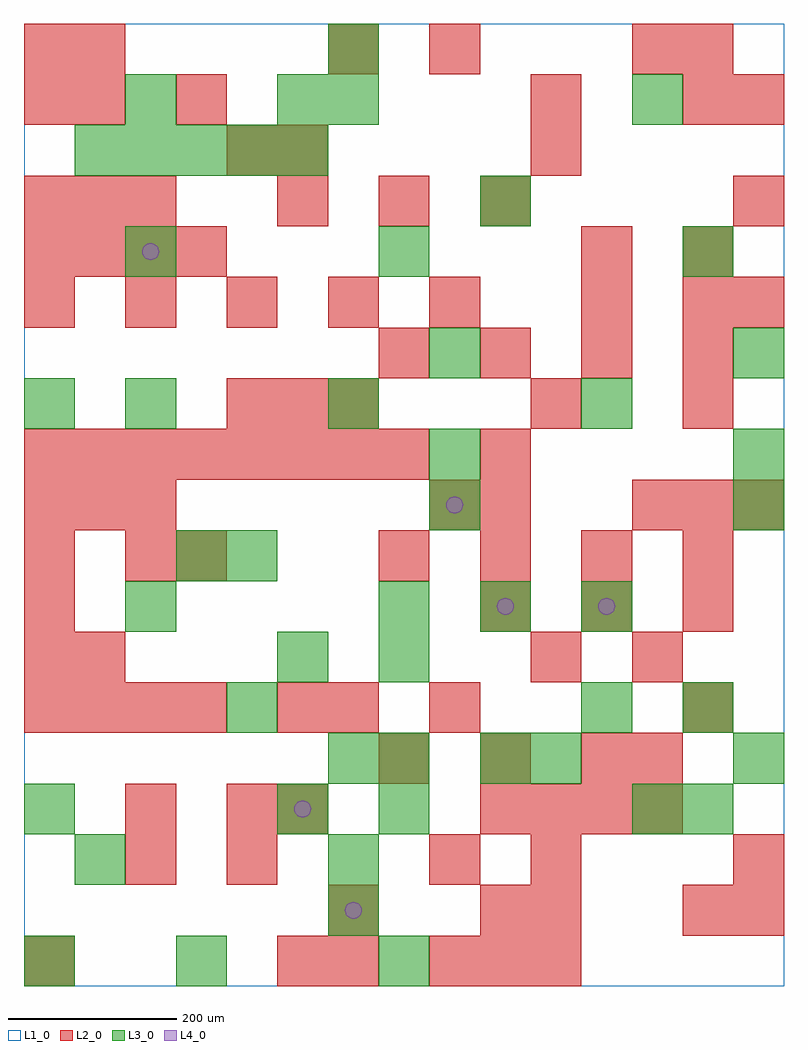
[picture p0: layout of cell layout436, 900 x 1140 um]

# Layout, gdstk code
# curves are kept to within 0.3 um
import gdstk
lib = gdstk.Library(unit=1e-6, precision=1e-09)
def R(c, l, rs):  # rectangles x0, y0, x1, y1
    for r in rs: c.add(gdstk.rectangle(r[:2], r[2:], *l))
def A(c, l, x, y, w, h, nx, ny, dx, dy):  # array of equal rectangles
    R(c, l, [(x+i*dx, y+j*dy, x+i*dx+w, y+j*dy+h) for i in range(nx) for j in range(ny)])
def P(c, l, *ps):  # polygons
    for p in ps: c.add(gdstk.Polygon(p, *l))
L1_0 = (1, 0)
L2_0 = (2, 0)
L3_0 = (3, 0)
L4_0 = (4, 0)

layout436 = lib.new_cell('layout436')
R(layout436, L1_0, [(0,0,900,1140)])
A(layout436, L2_0, 480, 0, 60, 60, 3, 1, 60, 0)
A(layout436, L2_0, 540, 180, 60, 60, 4, 1, 60, 0)
A(layout436, L2_0, 420, 240, 60, 60, 3, 1, 120, 0)
A(layout436, L2_0, 0, 300, 60, 60, 4, 2, 60, 540)
A(layout436, L2_0, 0, 360, 60, 60, 1, 3, 0, 60)
A(layout436, L2_0, 600, 360, 60, 60, 1, 3, 0, 300)
A(layout436, L2_0, 540, 420, 60, 60, 3, 1, 120, 0)
A(layout436, L2_0, 420, 480, 60, 60, 4, 2, 120, 240)
A(layout436, L2_0, 0, 540, 60, 60, 3, 2, 60, 360)
A(layout436, L2_0, 720, 540, 60, 60, 3, 1, 60, 0)
A(layout436, L2_0, 0, 600, 60, 60, 8, 1, 60, 0)
A(layout436, L2_0, 240, 660, 60, 60, 3, 1, 60, 0)
A(layout436, L2_0, 0, 780, 60, 60, 5, 1, 120, 0)
A(layout436, L2_0, 840, 780, 60, 60, 1, 3, 0, 120)
A(layout436, L2_0, 300, 900, 60, 60, 3, 1, 120, 0)
R(layout436, L2_0, [(0,0,60,60), (300,0,360,60), (360,0,420,60), (360,60,420,120), (540,60,600,120), (600,60,660,120), (780,60,840,120), (840,60,900,120), (120,120,180,180), (240,120,300,180), (480,120,540,180), (600,120,660,180), (840,120,900,180), (120,180,180,240), (240,180,300,240), (300,180,360,240), (720,240,780,300), (300,300,360,360), (360,300,420,360), (480,300,540,360), (780,300,840,360), (60,360,120,420), (720,360,780,420), (120,480,180,540), (180,480,240,540), (480,540,540,600), (540,540,600,600), (540,600,600,660), (780,660,840,720), (660,780,720,840), (780,780,840,840), (660,840,720,900), (780,840,840,900), (240,960,300,1020), (300,960,360,1020), (0,1020,60,1080), (60,1020,120,1080), (180,1020,240,1080), (600,1020,660,1080), (780,1020,840,1080), (0,1080,60,1140), (60,1080,120,1140), (360,1080,420,1140), (480,1080,540,1140), (720,1080,780,1140), (780,1080,840,1140)])
A(layout436, L3_0, 420, 420, 60, 60, 3, 1, 120, 0)
A(layout436, L3_0, 120, 660, 60, 60, 1, 3, 0, 180)
A(layout436, L3_0, 60, 960, 60, 60, 5, 1, 60, 0)
R(layout436, L3_0, [(0,0,60,60), (180,0,240,60), (420,0,480,60), (360,60,420,120), (60,120,120,180), (360,120,420,180), (0,180,60,240), (300,180,360,240), (420,180,480,240), (720,180,780,240), (780,180,840,240), (360,240,420,300), (420,240,480,300), (540,240,600,300), (600,240,660,300), (840,240,900,300), (240,300,300,360), (660,300,720,360), (780,300,840,360), (300,360,360,420), (420,360,480,420), (120,420,180,480), (180,480,240,540), (240,480,300,540), (480,540,540,600), (840,540,900,600), (480,600,540,660), (840,600,900,660), (0,660,60,720), (360,660,420,720), (660,660,720,720), (480,720,540,780), (840,720,900,780), (420,840,480,900), (780,840,840,900), (540,900,600,960), (300,1020,360,1080), (360,1020,420,1080), (720,1020,780,1080), (360,1080,420,1140)])
P(layout436, L4_0, [(160,870),(159.239,873.827),(157.071,877.071),(153.827,879.239),(150,880),(146.173,879.239),(142.929,877.071),(140.761,873.827),(140,870),(140.761,866.173),(142.929,862.929),(146.173,860.761),(150,860),(153.827,860.761),(157.071,862.929),(159.239,866.173)],
  [(340,210),(339.239,213.827),(337.071,217.071),(333.827,219.239),(330,220),(326.173,219.239),(322.929,217.071),(320.761,213.827),(320,210),(320.761,206.173),(322.929,202.929),(326.173,200.761),(330,200),(333.827,200.761),(337.071,202.929),(339.239,206.173)],
  [(400,90),(399.239,93.827),(397.071,97.071),(393.827,99.239),(390,100),(386.173,99.239),(382.929,97.071),(380.761,93.827),(380,90),(380.761,86.173),(382.929,82.929),(386.173,80.761),(390,80),(393.827,80.761),(397.071,82.929),(399.239,86.173)],
  [(520,570),(519.239,573.827),(517.071,577.071),(513.827,579.239),(510,580),(506.173,579.239),(502.929,577.071),(500.761,573.827),(500,570),(500.761,566.173),(502.929,562.929),(506.173,560.761),(510,560),(513.827,560.761),(517.071,562.929),(519.239,566.173)],
  [(580,450),(579.239,453.827),(577.071,457.071),(573.827,459.239),(570,460),(566.173,459.239),(562.929,457.071),(560.761,453.827),(560,450),(560.761,446.173),(562.929,442.929),(566.173,440.761),(570,440),(573.827,440.761),(577.071,442.929),(579.239,446.173)],
  [(700,450),(699.239,453.827),(697.071,457.071),(693.827,459.239),(690,460),(686.173,459.239),(682.929,457.071),(680.761,453.827),(680,450),(680.761,446.173),(682.929,442.929),(686.173,440.761),(690,440),(693.827,440.761),(697.071,442.929),(699.239,446.173)])

lib.write_gds('layout436.gds')
